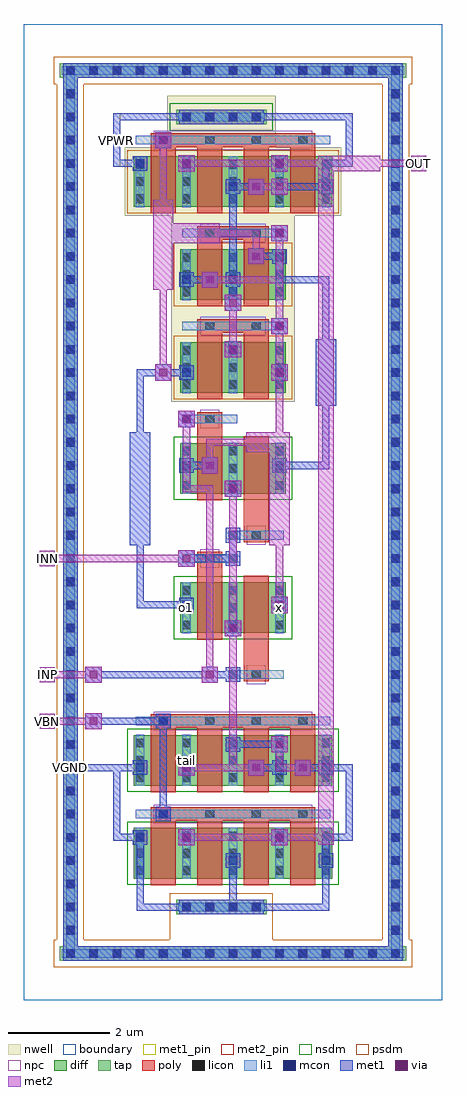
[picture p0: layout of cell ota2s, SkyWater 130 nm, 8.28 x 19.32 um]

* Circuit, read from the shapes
.subckt ota2s INN INP OUT VBN VGND VPWR o1 tail x
XM1 OUT VBN VGND VGND sky130_fd_pr__nfet_01v8 w=1 l=0.5 m=4
XM2 tail VBN VGND VGND sky130_fd_pr__nfet_01v8 w=1 l=0.5 m=4
XM3 tail INN o1 VGND sky130_fd_pr__nfet_01v8 w=1 l=0.5 m=2
XM4 tail INP x VGND sky130_fd_pr__nfet_01v8 w=1 l=0.5 m=2
XM5 OUT o1 VPWR VPWR sky130_fd_pr__pfet_01v8 w=1 l=0.5 m=4
XM6 VPWR x o1 VPWR sky130_fd_pr__pfet_01v8 w=1 l=0.5 m=2
XM7 VPWR x x VPWR sky130_fd_pr__pfet_01v8 w=1 l=0.5 m=2
.ends

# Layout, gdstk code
import gdstk
lib = gdstk.Library(unit=1e-6, precision=1e-09)
def R(c, l, rs):  # rectangles x0, y0, x1, y1
    for r in rs: c.add(gdstk.rectangle(r[:2], r[2:], *l))
def A(c, l, x, y, w, h, nx, ny, dx, dy):  # array of equal rectangles
    R(c, l, [(x+i*dx, y+j*dy, x+i*dx+w, y+j*dy+h) for i in range(nx) for j in range(ny)])
nwell = (64, 20)
diff = (65, 20)
tap = (65, 44)
poly = (66, 20)
licon = (66, 44)
li1 = (67, 20)
mcon = (67, 44)
met1_pin = (68, 16)
met1 = (68, 20)
via = (68, 44)
met2_pin = (69, 16)
met2 = (69, 20)
nsdm = (93, 44)
psdm = (94, 20)
npc = (95, 20)
boundary = (235, 4)

ota2s = lib.new_cell('ota2s')
R(ota2s, nwell, [(2.915,11.84,5.365,15.52), (1.995,15.52,6.285,16.88), (2.835,16.88,4.985,17.9)])
R(ota2s, diff, [(2.175,2.405,6.105,3.405), (2.175,4.245,6.105,5.245), (3.095,7.265,5.185,8.265), (3.095,10.025,5.185,11.025), (3.095,12.02,5.185,13.02), (3.095,13.86,5.185,14.86), (2.175,15.7,6.105,16.7)])
R(ota2s, tap, [(0.715,0.775,7.565,1.065), (0.775,0.775,1.065,18.545), (7.215,0.775,7.505,18.545), (3.015,1.695,4.805,1.985), (3.015,17.335,4.805,17.625), (0.715,18.255,7.565,18.545)])
A(ota2s, poly, 2.51, 2.275, 0.5, 1.405, 4, 2, 0.92, 1.84)
A(ota2s, poly, 2.51, 15.57, 0.5, 1.45, 4, 1, 0.92, 0)
R(ota2s, poly, [(2.51,3.545,5.77,3.815), (2.51,5.385,5.77,5.655), (4.35,6.305,4.85,6.575), (4.35,6.44,4.85,8.395), (3.43,7.135,3.93,8.74), (3.43,8.605,3.93,8.875), (4.35,9.065,4.85,9.335), (4.35,9.2,4.85,11.155), (3.43,9.895,3.93,11.5), (3.43,11.365,3.93,11.635), (3.43,11.89,3.93,13.34), (4.35,11.89,4.85,13.34), (3.43,13.205,4.85,13.475), (3.43,13.73,3.93,15.18), (4.35,13.73,4.85,15.18), (3.43,15.045,4.85,15.315), (2.51,16.885,5.77,17.155)])
A(ota2s, licon, 0.835, 0.835, 0.17, 0.17, 15, 2, 0.46, 17.48)
A(ota2s, licon, 0.835, 1.295, 0.17, 0.17, 1, 37, 0, 0.46)
A(ota2s, licon, 7.275, 1.295, 0.17, 0.17, 1, 37, 0, 0.46)
A(ota2s, licon, 3.135, 1.755, 0.17, 0.17, 4, 2, 0.46, 15.64)
A(ota2s, licon, 2.215, 2.48, 0.17, 0.17, 5, 3, 0.92, 0.34)
A(ota2s, licon, 2.675, 3.595, 0.17, 0.17, 4, 2, 0.92, 1.84)
A(ota2s, licon, 2.215, 4.32, 0.17, 0.17, 5, 3, 0.92, 0.34)
A(ota2s, licon, 3.135, 7.34, 0.17, 0.17, 3, 3, 0.92, 0.34)
A(ota2s, licon, 3.135, 10.1, 0.17, 0.17, 3, 3, 0.92, 0.34)
A(ota2s, licon, 3.595, 11.415, 0.17, 0.17, 1, 3, 0, 1.84)
A(ota2s, licon, 3.135, 12.095, 0.17, 0.17, 3, 3, 0.92, 0.34)
A(ota2s, licon, 3.135, 13.935, 0.17, 0.17, 3, 3, 0.92, 0.34)
A(ota2s, licon, 2.215, 15.775, 0.17, 0.17, 5, 3, 0.92, 0.34)
A(ota2s, licon, 2.675, 16.935, 0.17, 0.17, 4, 1, 0.92, 0)
R(ota2s, licon, [(4.515,6.355,4.685,6.525), (3.595,8.655,3.765,8.825), (4.515,9.115,4.685,9.285), (4.515,13.255,4.685,13.425), (4.515,15.095,4.685,15.265)])
A(ota2s, li1, 2.215, 2.4, 0.17, 1.01, 5, 2, 0.92, 1.84)
A(ota2s, li1, 3.135, 7.26, 0.17, 1.01, 3, 2, 0.92, 2.76)
A(ota2s, li1, 3.135, 12.015, 0.17, 1.01, 3, 2, 0.92, 1.84)
A(ota2s, li1, 2.215, 15.695, 0.17, 1.01, 5, 1, 0.92, 0)
R(ota2s, li1, [(0.755,0.835,7.525,1.005), (0.835,0.835,1.005,18.485), (7.275,0.835,7.445,18.485), (3.055,1.755,4.765,1.925), (2.215,3.595,6.065,3.765), (2.215,5.435,6.065,5.605), (4.055,6.355,5.145,6.525), (3.135,8.655,4.225,8.825), (4.055,9.115,5.145,9.285), (3.135,11.415,4.225,11.585), (3.135,13.255,5.145,13.425), (3.135,15.095,5.145,15.265), (2.215,16.935,6.065,17.105), (3.055,17.395,4.765,17.565), (0.755,18.315,7.525,18.485)])
A(ota2s, mcon, 0.835, 0.835, 0.17, 0.17, 15, 2, 0.46, 17.48)
A(ota2s, mcon, 0.835, 1.295, 0.17, 0.17, 1, 8, 0, 0.46)
A(ota2s, mcon, 7.275, 1.295, 0.17, 0.17, 1, 8, 0, 0.46)
A(ota2s, mcon, 3.135, 1.755, 0.17, 0.17, 4, 2, 0.46, 15.64)
A(ota2s, mcon, 0.835, 4.975, 0.17, 0.17, 3, 2, 3.22, 1.38)
A(ota2s, mcon, 0.835, 5.895, 0.17, 0.17, 1, 3, 0, 0.92)
A(ota2s, mcon, 7.275, 5.895, 0.17, 0.17, 1, 3, 0, 0.92)
A(ota2s, mcon, 0.835, 7.275, 0.17, 0.17, 3, 2, 3.22, 1.38)
A(ota2s, mcon, 0.835, 9.115, 0.17, 0.17, 3, 2, 3.22, 0.92)
A(ota2s, mcon, 0.835, 10.495, 0.17, 0.17, 1, 5, 0, 0.46)
A(ota2s, mcon, 3.135, 10.495, 0.17, 0.17, 1, 3, 0, 0.92)
A(ota2s, mcon, 7.275, 10.495, 0.17, 0.17, 1, 5, 0, 0.46)
A(ota2s, mcon, 0.835, 12.795, 0.17, 0.17, 3, 1, 3.22, 0)
A(ota2s, mcon, 0.835, 13.255, 0.17, 0.17, 1, 11, 0, 0.46)
A(ota2s, mcon, 7.275, 13.255, 0.17, 0.17, 1, 11, 0, 0.46)
R(ota2s, mcon, [(4.055,2.675,4.225,2.845), (5.895,2.675,6.065,2.845), (2.215,3.135,2.385,3.305), (3.135,3.135,3.305,3.305), (4.975,3.135,5.145,3.305), (2.675,3.595,2.845,3.765), (2.215,4.515,2.385,4.685), (3.135,4.515,3.305,4.685), (4.975,4.515,5.145,4.685), (5.895,4.515,6.065,4.685), (0.835,5.435,1.005,5.605), (2.675,5.435,2.845,5.605), (7.275,5.435,7.445,5.605), (3.135,7.735,3.305,7.905), (4.975,7.735,5.145,7.905), (0.835,8.195,1.005,8.365), (7.275,8.195,7.445,8.365), (0.835,9.575,1.005,9.745), (7.275,9.575,7.445,9.745), (4.975,10.495,5.145,10.665), (4.975,12.335,5.145,12.505), (4.975,13.255,5.145,13.425), (3.135,14.175,3.305,14.345), (4.055,14.175,4.225,14.345), (4.975,14.635,5.145,14.805), (4.975,15.095,5.145,15.265), (4.055,16.015,4.225,16.185), (5.895,16.015,6.065,16.185), (2.215,16.475,2.385,16.645), (3.135,16.475,3.305,16.645), (4.975,16.475,5.145,16.645), (2.675,16.935,2.845,17.105)])
R(ota2s, met1_pin, [(0.85,4.53,0.99,4.67), (1.77,16.49,1.91,17.55)])
A(ota2s, met1, 3.98, 7.2, 0.32, 0.32, 1, 3, 0, 2.76)
A(ota2s, met1, 3.075, 10.435, 0.29, 0.29, 1, 3, 0, 0.92)
R(ota2s, met1, [(0.775,0.775,7.505,1.065), (0.775,0.775,1.065,18.545), (7.215,0.775,7.505,18.545), (3.075,1.695,4.745,1.985), (2.23,1.77,3.29,1.91), (2.23,1.77,2.37,3.29), (3.15,1.77,4.21,1.91), (3.15,1.77,3.29,1.91), (4.07,1.77,4.21,2.83), (4.07,1.77,6.05,1.91), (5.91,1.77,6.05,2.83), (3.995,2.615,4.285,2.905), (5.835,2.615,6.125,2.905), (5.91,2.69,6.05,3.29), (3.06,3.06,3.38,3.38), (4.9,3.06,5.22,3.38), (2.155,3.075,2.445,3.365), (3.075,3.075,3.365,3.365), (4.915,3.075,5.205,3.365), (1.77,3.15,2.37,3.29), (1.77,3.15,1.91,4.67), (5.91,3.15,6.51,3.29), (6.37,3.15,6.51,4.67), (2.615,3.535,2.905,3.825), (2.69,3.61,2.83,5.59), (3.06,4.44,3.38,4.76), (4.44,4.44,4.76,4.76), (5.36,4.44,5.68,4.76), (2.155,4.455,2.445,4.745), (3.075,4.455,3.365,4.745), (4.915,4.455,5.205,4.745), (5.835,4.455,6.125,4.745), (0.85,4.53,0.99,18.47), (0.85,4.53,0.99,4.67), (0.85,4.53,2.37,4.67), (4.53,4.53,5.13,4.67), (5.45,4.53,6.05,4.67), (5.91,4.53,6.51,4.67), (4.9,4.9,5.22,5.22), (3.995,4.915,4.285,5.205), (4.07,4.99,5.13,5.13), (1.22,5.36,1.54,5.68), (2.615,5.375,2.905,5.665), (1.31,5.45,2.83,5.59), (1.22,6.28,1.54,6.6), (3.52,6.28,3.84,6.6), (3.995,6.295,4.285,6.585), (1.31,6.37,4.21,6.51), (3.995,7.215,4.285,7.505), (4.9,7.66,5.22,7.98), (3.075,7.675,3.365,7.965), (4.915,7.675,5.205,7.965), (2.23,7.75,3.29,7.89), (2.23,7.75,2.37,9.27), (3.06,8.58,3.38,8.9), (3.995,8.595,4.285,8.885), (3.15,8.67,4.21,8.81), (4.07,8.67,4.21,9.27), (2.1,9,2.5,11.24), (3.995,9.055,4.285,9.345), (3.995,9.975,4.285,10.265), (3.52,10.42,3.84,10.74), (4.915,10.435,5.205,10.725), (3.15,10.51,3.75,10.65), (4.99,10.51,6.05,10.65), (5.91,10.51,6.05,12.03), (2.23,10.97,2.37,12.49), (3.06,11.34,3.38,11.66), (5.78,11.76,6.18,13.08), (2.6,12.26,2.92,12.58), (4.9,12.26,5.22,12.58), (4.915,12.275,5.205,12.565), (2.23,12.35,3.29,12.49), (3.995,12.735,4.285,13.025), (5.91,12.81,6.05,14.33), (4.9,13.18,5.22,13.5), (4.915,13.195,5.205,13.485), (3.98,13.64,4.3,13.96), (4.07,13.73,4.21,14.33), (3.52,14.1,3.84,14.42), (3.075,14.115,3.365,14.405), (3.995,14.115,4.285,14.405), (3.15,14.19,3.75,14.33), (4.07,14.19,4.21,16.17), (4.99,14.19,5.13,14.79), (4.99,14.19,6.05,14.33), (4.44,14.56,4.76,14.88), (4.915,14.575,5.205,14.865), (4.53,14.65,5.13,14.79), (4.9,15.02,5.22,15.34), (4.915,15.035,5.205,15.325), (4.44,15.94,4.76,16.26), (4.9,15.94,5.22,16.26), (3.995,15.955,4.285,16.245), (5.835,15.955,6.125,16.245), (4.07,16.03,4.67,16.17), (4.99,16.03,6.05,16.17), (5.91,16.03,6.05,16.63), (3.06,16.4,3.38,16.72), (4.9,16.4,5.22,16.72), (2.155,16.415,2.445,16.705), (3.075,16.415,3.365,16.705), (4.915,16.415,5.205,16.705), (1.77,16.49,2.37,16.63), (1.77,16.49,1.91,17.55), (5.91,16.49,6.51,16.63), (6.37,16.49,6.51,17.55), (2.6,16.86,2.92,17.18), (2.615,16.875,2.905,17.165), (3.075,17.335,4.745,17.625), (1.77,17.41,4.67,17.55), (4.53,17.41,6.51,17.55), (4.53,17.41,4.67,17.55), (0.775,18.255,7.505,18.545), (0.85,18.33,0.99,18.47)])
A(ota2s, via, 4.065, 7.285, 0.15, 0.15, 1, 3, 0, 2.76)
R(ota2s, via, [(3.145,3.145,3.295,3.295), (4.985,3.145,5.135,3.295), (3.145,4.525,3.295,4.675), (4.525,4.525,4.675,4.675), (5.445,4.525,5.595,4.675), (4.985,4.985,5.135,5.135), (1.305,5.445,1.455,5.595), (1.305,6.365,1.455,6.515), (3.605,6.365,3.755,6.515), (4.985,7.745,5.135,7.895), (3.145,8.665,3.295,8.815), (3.605,10.505,3.755,10.655), (3.145,11.425,3.295,11.575), (2.685,12.345,2.835,12.495), (4.985,12.345,5.135,12.495), (4.985,13.265,5.135,13.415), (4.065,13.725,4.215,13.875), (3.605,14.185,3.755,14.335), (4.525,14.645,4.675,14.795), (4.985,15.105,5.135,15.255), (4.525,16.025,4.675,16.175), (4.985,16.025,5.135,16.175), (3.145,16.485,3.295,16.635), (4.985,16.485,5.135,16.635), (2.685,16.945,2.835,17.095)])
R(ota2s, met2_pin, [(0.31,5.37,0.61,5.67), (0.31,6.29,0.61,6.59), (0.31,8.59,0.61,8.89), (7.67,16.41,7.97,16.71)])
A(ota2s, met2, 3.98, 7.2, 0.32, 0.32, 1, 3, 0, 2.76)
R(ota2s, met2, [(3.06,3.06,3.38,3.38), (4.9,3.06,5.22,3.38), (5.83,3.07,6.13,16.71), (3.15,3.15,5.13,3.29), (4.99,3.15,6.05,3.29), (3.06,4.44,3.38,4.76), (4.44,4.44,4.76,4.76), (5.36,4.44,5.68,4.76), (3.15,4.53,4.67,4.67), (4.07,4.53,4.21,7.43), (4.99,4.53,5.13,5.13), (4.99,4.53,5.59,4.67), (4.9,4.9,5.22,5.22), (1.22,5.36,1.54,5.68), (0.31,5.37,0.61,5.67), (0.39,5.45,1.45,5.59), (0.39,5.45,0.53,5.59), (1.22,6.28,1.54,6.6), (3.52,6.28,3.84,6.6), (0.31,6.29,0.61,6.59), (0.39,6.37,1.45,6.51), (0.39,6.37,0.53,6.51), (3.61,6.37,3.75,10.19), (4.07,7.29,4.21,10.19), (4.9,7.66,5.22,7.98), (4.99,7.75,5.13,9.27), (3.06,8.58,3.38,8.9), (0.31,8.59,0.61,8.89), (0.39,8.67,0.53,8.81), (0.39,8.67,3.29,8.81), (4.86,9,5.26,11.24), (3.15,10.05,3.29,11.57), (3.15,10.05,3.75,10.19), (3.52,10.42,3.84,10.74), (3.61,10.51,3.75,11.11), (4.4,10.84,5.26,11.24), (3.61,10.97,4.67,11.11), (4.99,10.97,5.13,12.49), (3.06,11.34,3.38,11.66), (2.6,12.26,2.92,12.58), (4.9,12.26,5.22,12.58), (2.69,12.35,2.83,14.33), (4.99,12.35,5.13,13.41), (4.07,12.81,4.21,13.87), (4.9,13.18,5.22,13.5), (4.99,13.27,5.13,15.25), (3.98,13.64,4.3,13.96), (2.56,14.06,2.96,15.84), (3.52,14.1,3.84,14.42), (3.61,14.19,5.13,14.33), (4.44,14.56,4.76,14.88), (4.53,14.65,4.67,15.25), (2.56,14.98,3.88,15.38), (4.9,15.02,5.22,15.34), (3.61,15.11,4.67,15.25), (2.69,15.57,2.83,17.09), (4.44,15.94,4.76,16.26), (4.9,15.94,5.22,16.26), (4.53,16.03,5.13,16.17), (3.06,16.4,3.38,16.72), (4.9,16.4,5.22,16.72), (5.83,16.41,7.05,16.71), (7.67,16.41,7.97,16.71), (3.15,16.49,5.13,16.63), (4.99,16.49,6.05,16.63), (6.83,16.49,7.89,16.63), (7.75,16.49,7.89,16.63), (2.6,16.86,2.92,17.18)])
R(ota2s, nsdm, [(2.05,2.28,6.23,3.53), (2.05,4.12,6.23,5.37), (2.97,7.14,5.31,8.39), (2.97,9.9,5.31,11.15), (2.89,17.21,4.93,17.75)])
R(ota2s, psdm, [(0.59,0.65,7.69,1.19), (0.65,1.19,1.19,18.13), (2.89,1.19,4.93,2.11), (7.09,1.19,7.63,18.13), (2.97,11.895,5.31,13.145), (2.97,13.735,5.31,14.985), (2.05,15.575,6.23,16.825), (0.59,18.13,7.69,18.67)])
R(ota2s, npc, [(2.575,3.495,5.705,3.865), (2.575,5.335,5.705,5.705), (4.415,6.255,4.785,6.625), (3.495,8.555,3.865,8.925), (4.415,9.015,4.785,9.385), (3.495,11.315,3.865,11.685), (3.495,13.155,4.785,13.525), (3.495,14.995,4.785,15.365), (2.575,16.835,5.705,17.205)])
R(ota2s, boundary, [(0,0,8.28,19.32)])
ota2s.add(gdstk.Label('tail', (3.22,4.745), layer=67, texttype=5))
ota2s.add(gdstk.Label('o1', (3.22,7.765), layer=67, texttype=5))
ota2s.add(gdstk.Label('x', (5.06,7.765), layer=67, texttype=5))
ota2s.add(gdstk.Label('VPWR', (1.84,17.02), layer=68, texttype=5))
ota2s.add(gdstk.Label('VGND', (0.92,4.6), layer=68, texttype=5))
ota2s.add(gdstk.Label('INP', (0.46,6.44), layer=69, texttype=5))
ota2s.add(gdstk.Label('INN', (0.46,8.74), layer=69, texttype=5))
ota2s.add(gdstk.Label('VBN', (0.46,5.52), layer=69, texttype=5))
ota2s.add(gdstk.Label('OUT', (7.82,16.56), layer=69, texttype=5))
ota2s.add(gdstk.Label('VPWR', (1.84,17.02), layer=68, texttype=16))
ota2s.add(gdstk.Label('VGND', (0.92,4.6), layer=68, texttype=16))
ota2s.add(gdstk.Label('INP', (0.46,6.44), layer=69, texttype=16))
ota2s.add(gdstk.Label('INN', (0.46,8.74), layer=69, texttype=16))
ota2s.add(gdstk.Label('VBN', (0.46,5.52), layer=69, texttype=16))
ota2s.add(gdstk.Label('OUT', (7.82,16.56), layer=69, texttype=16))

lib.write_gds('ota2s.gds')
